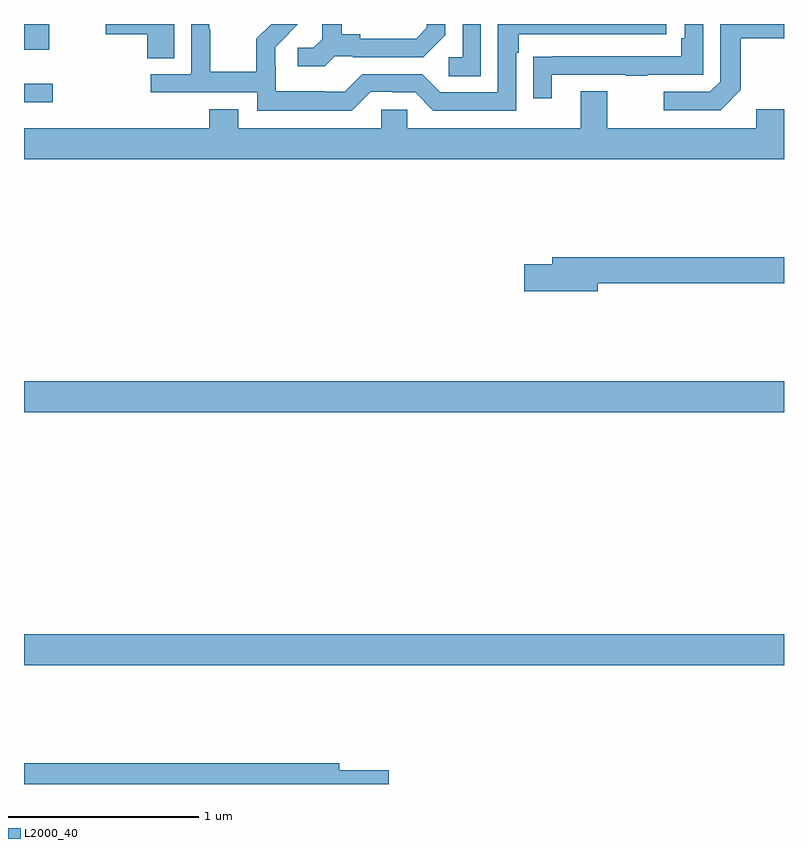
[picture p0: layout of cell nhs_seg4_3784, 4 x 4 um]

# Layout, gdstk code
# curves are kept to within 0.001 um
import gdstk
lib = gdstk.Library(unit=1e-6, precision=1e-09)
def R(c, l, rs):  # rectangles x0, y0, x1, y1
    for r in rs: c.add(gdstk.rectangle(r[:2], r[2:], *l))
def P(c, l, *ps):  # polygons
    for p in ps: c.add(gdstk.Polygon(p, *l))
L2000_40 = (2000, 40)

nhs_seg4_3784 = lib.new_cell('nhs_seg4_3784')
R(nhs_seg4_3784, L2000_40, [(311,759.524,315,759.688), (311,760.856,315,761.02), (311,762.488,311.152,762.585), (311,762.764,311.134,762.9)])
P(nhs_seg4_3784, L2000_40, [(313.404,762.9),(313.308,762.9),(313.308,762.726),(313.236,762.726),(313.236,762.625),(313.404,762.625)],
  [(311.791,762.9),(311.43,762.9),(311.43,762.845),(311.648,762.845),(311.648,762.721),(311.791,762.721)],
  [(312.636,762.729),(312.73,762.729),(312.73,762.726),(313.102,762.726),(313.218,762.842),(313.218,762.9),(313.121,762.9),(313.121,762.879),(313.064,762.822),(312.769,762.822),(312.769,762.845),(312.673,762.845),(312.673,762.9),(312.569,762.9),(312.569,762.821),(312.522,762.774),(312.441,762.774),(312.441,762.677),(312.584,762.677)],
  [(314.773,762.553),(314.773,762.826),(315,762.826),(315,762.9),(314.664,762.9),(314.664,762.597),(314.61,762.543),(314.367,762.543),(314.367,762.447),(314.667,762.447)],
  [(313.777,762.633),(314.167,762.633),(314.167,762.628),(314.279,762.628),(314.279,762.633),(314.574,762.633),(314.574,762.9),(314.478,762.9),(314.478,762.826),(314.458,762.826),(314.458,762.729),(313.783,762.729),(313.783,762.728),(313.681,762.728),(313.681,762.51),(313.777,762.51)],
  [(312.825,762.543),(312.941,762.543),(312.941,762.54),(313.059,762.54),(313.155,762.444),(313.59,762.444),(313.59,762.749),(313.603,762.749),(313.603,762.846),(314.38,762.846),(314.38,762.9),(313.494,762.9),(313.494,762.54),(313.191,762.54),(313.095,762.636),(312.78,762.636),(312.687,762.543),(312.587,762.543),(312.587,762.547),(312.324,762.547),(312.324,762.681),(312.322,762.681),(312.322,762.778),(312.442,762.9),(312.306,762.9),(312.303,762.897),(312.3,762.9),(312.223,762.823),(312.223,762.649),(311.979,762.649),(311.979,762.872),(311.976,762.872),(311.976,762.9),(311.88,762.9),(311.88,762.636),(311.667,762.636),(311.667,762.54),(312.228,762.54),(312.228,762.443),(312.725,762.443)],
  [(315,762.451),(314.855,762.451),(314.855,762.352),(314.071,762.352),(314.071,762.547),(313.931,762.547),(313.931,762.352),(313.017,762.352),(313.017,762.45),(312.879,762.45),(312.879,762.352),(312.127,762.352),(312.127,762.451),(311.975,762.451),(311.975,762.352),(311,762.352),(311,762.188),(315,762.188)],
  [(314.02,761.536),(315,761.536),(315,761.672),(313.781,761.672),(313.781,761.636),(313.632,761.636),(313.632,761.494),(314.02,761.494)],
  [(312.919,758.972),(312.658,758.972),(312.658,759.008),(311,759.008),(311,758.9),(312.919,758.9)])

lib.write_gds('nhs_seg4_3784.gds')
